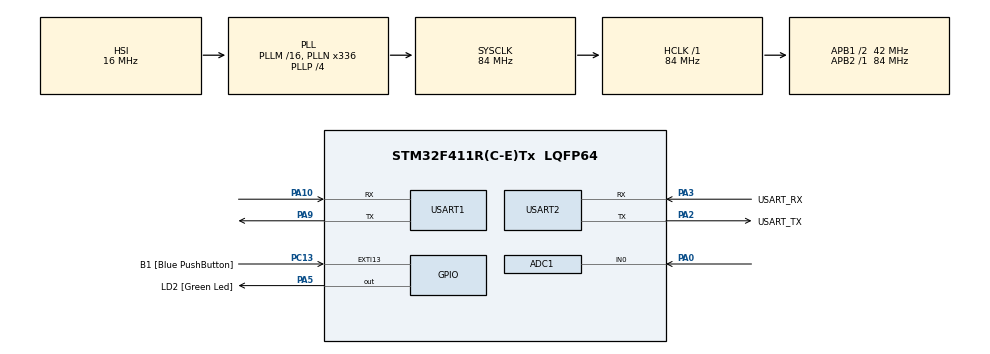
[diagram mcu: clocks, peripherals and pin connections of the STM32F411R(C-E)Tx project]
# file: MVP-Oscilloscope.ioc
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ADC1.Channel-9\#ChannelRegularConversion=ADC_CHANNEL_0
ADC1.NbrOfConversionFlag=1
ADC1.Rank-9\#ChannelRegularConversion=1
ADC1.SamplingTime-9\#ChannelRegularConversion=ADC_SAMPLETIME_3CYCLES
ADC1.master=1
Mcu.Family=STM32F4
Mcu.Name=STM32F411R(C-E)Tx
Mcu.Package=LQFP64
NVIC.PriorityGroup=NVIC_PRIORITYGROUP_0
PA0-WKUP.Signal=ADCx_IN0
PA10.Mode=Asynchronous
PA10.Signal=USART1_RX
PA13.GPIO_Label=TMS
PA13.Mode=Serial_Wire
PA13.Signal=SYS_JTMS-SWDIO
PA14.GPIO_Label=TCK
PA14.Mode=Serial_Wire
PA14.Signal=SYS_JTCK-SWCLK
PA2.GPIO_Label=USART_TX
PA2.Mode=Asynchronous
PA2.Signal=USART2_TX
PA3.GPIO_Label=USART_RX
PA3.Mode=Asynchronous
PA3.Signal=USART2_RX
PA5.GPIO_Label=LD2 [Green Led]
PA5.Signal=GPIO_Output
PA9.Mode=Asynchronous
PA9.Signal=USART1_TX
PB3.GPIO_Label=SWO
PB3.Signal=SYS_JTDO-SWO
PC13-ANTI_TAMP.GPIO_Label=B1 [Blue PushButton]
PC13-ANTI_TAMP.GPIO_ModeDefaultEXTI=GPIO_MODE_IT_FALLING
PC13-ANTI_TAMP.Signal=GPXTI13
PC14-OSC32_IN.Mode=LSE-External-Oscillator
PC14-OSC32_IN.Signal=RCC_OSC32_IN
PC15-OSC32_OUT.Mode=LSE-External-Oscillator
PC15-OSC32_OUT.Signal=RCC_OSC32_OUT
PH0\ -\ OSC_IN.Mode=HSE-External-Clock-Source
PH0\ -\ OSC_IN.Signal=RCC_OSC_IN
PH1\ -\ OSC_OUT.Mode=HSE-External-Clock-Source
PH1\ -\ OSC_OUT.Signal=RCC_OSC_OUT
ProjectManager.HeapSize=0x200
ProjectManager.StackSize=0x400
ProjectManager.TargetToolchain=STM32CubeIDE
RCC.48MHZClocksFreq_Value=84000000
RCC.AHBFreq_Value=84000000
RCC.APB1CLKDivider=RCC_HCLK_DIV2
RCC.APB1Freq_Value=42000000
RCC.APB1TimFreq_Value=84000000
RCC.APB2Freq_Value=84000000
RCC.APB2TimFreq_Value=84000000
RCC.CortexFreq_Value=84000000
RCC.FLatency-AdvancedSettings=FLASH_LATENCY_2
RCC.HCLKFreq_Value=84000000
RCC.HSE_VALUE=8000000
RCC.HSI_VALUE=16000000
RCC.PLLN=336
RCC.PLLP=RCC_PLLP_DIV4
RCC.SYSCLKFreq_VALUE=84000000
RCC.SYSCLKSource=RCC_SYSCLKSOURCE_PLLCLK
RCC.VCOOutputFreq_Value=336000000
SH.ADCx_IN0.0=ADC1_IN0,IN0
USART1.VirtualMode=VM_ASYNC
USART2.VirtualMode=VM_ASYNC
board=NUCLEO-F411RE

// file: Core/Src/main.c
/* USER CODE BEGIN Header */
/**
  ******************************************************************************
  * @file           : main.c
  * @brief          : Main program body
  ******************************************************************************
  * @attention
  *
  * Copyright (c) 2024 STMicroelectronics.
  * All rights reserved.
  *
  * This software is licensed under terms that can be found in the LICENSE file
  * in the root directory of this software component.
  * If no LICENSE file comes with this software, it is provided AS-IS.
  *
  ******************************************************************************
  */
/* USER CODE END Header */
#include "main.h"

/* USER CODE BEGIN Includes */
#include <stdlib.h>
/* USER CODE END Includes */

/* USER CODE BEGIN PD */

// Размер буфера АЦП
#define ADC_BUFFER_SIZE 64

/* USER CODE END PD */

ADC_HandleTypeDef hadc1;

UART_HandleTypeDef huart1;
UART_HandleTypeDef huart2;

/* USER CODE BEGIN PV */

// Буфер для хранения данных АЦП
uint16_t adc_buffer[ADC_BUFFER_SIZE];

// Указатель на текущую позицию в буфере
uint16_t adc_buffer_index = 0;

/* USER CODE END PV */

void SystemClock_Config(void);
static void MX_GPIO_Init(void);
static void MX_ADC1_Init(void);
static void MX_USART1_UART_Init(void);
static void MX_USART2_UART_Init(void);
/* USER CODE BEGIN PFP */

// Функция для передачи данных через UART
void Send_Data(uint16_t *data, uint16_t size);

/* USER CODE END PFP */

int main(void)
{

  /* MCU Configuration--------------------------------------------------------*/

  /* Reset of all peripherals, Initializes the Flash interface and the Systick. */
  HAL_Init();

  /* Configure the system clock */
  SystemClock_Config();

  /* Initialize all configured peripherals */
  MX_GPIO_Init();
  MX_ADC1_Init();
  MX_USART1_UART_Init();
  MX_USART2_UART_Init();

  /* Infinite loop */
  /* USER CODE BEGIN WHILE */

  while (1)
  {
	  // Запуск преобразования АЦП
	  HAL_ADC_Start(&hadc1);
	  HAL_ADC_PollForConversion(&hadc1, HAL_MAX_DELAY);

	  // Считывание данных АЦП
	  uint16_t adc_value = HAL_ADC_GetValue(&hadc1);

	  // Сохранение данных в буфер
	  adc_buffer[adc_buffer_index++] = (adc_value * 3.9) / 4095;

	  // Если буфер заполнен, передаем данные через UART
	  if (adc_buffer_index >= ADC_BUFFER_SIZE)
	  {
		     Send_Data(adc_buffer, ADC_BUFFER_SIZE);
		     // Сброс указателя буфера
		     adc_buffer_index = 0;
      }

	  // Остановка преобразования АЦП
      HAL_ADC_Stop(&hadc1);
      HAL_Delay(5);

    /* USER CODE END WHILE */

  }
}

void SystemClock_Config(void)
{
  RCC_OscInitTypeDef RCC_OscInitStruct = {0};
  RCC_ClkInitTypeDef RCC_ClkInitStruct = {0};

  /** Configure the main internal regulator output voltage
  */
  __HAL_RCC_PWR_CLK_ENABLE();
  __HAL_PWR_VOLTAGESCALING_CONFIG(PWR_REGULATOR_VOLTAGE_SCALE1);

  /** Initializes the RCC Oscillators according to the specified parameters
  * in the RCC_OscInitTypeDef structure.
  */
  RCC_OscInitStruct.OscillatorType = RCC_OSCILLATORTYPE_HSI;
  RCC_OscInitStruct.HSIState = RCC_HSI_ON;
  RCC_OscInitStruct.HSICalibrationValue = RCC_HSICALIBRATION_DEFAULT;
  RCC_OscInitStruct.PLL.PLLState = RCC_PLL_ON;
  RCC_OscInitStruct.PLL.PLLSource = RCC_PLLSOURCE_HSI;
  RCC_OscInitStruct.PLL.PLLM = 16;
  RCC_OscInitStruct.PLL.PLLN = 336;
  RCC_OscInitStruct.PLL.PLLP = RCC_PLLP_DIV4;
  RCC_OscInitStruct.PLL.PLLQ = 4;
  if (HAL_RCC_OscConfig(&RCC_OscInitStruct) != HAL_OK)
  {
    Error_Handler();
  }

  /** Initializes the CPU, AHB and APB buses clocks
  */
  RCC_ClkInitStruct.ClockType = RCC_CLOCKTYPE_HCLK|RCC_CLOCKTYPE_SYSCLK
                              |RCC_CLOCKTYPE_PCLK1|RCC_CLOCKTYPE_PCLK2;
  RCC_ClkInitStruct.SYSCLKSource = RCC_SYSCLKSOURCE_PLLCLK;
  RCC_ClkInitStruct.AHBCLKDivider = RCC_SYSCLK_DIV1;
  RCC_ClkInitStruct.APB1CLKDivider = RCC_HCLK_DIV2;
  RCC_ClkInitStruct.APB2CLKDivider = RCC_HCLK_DIV1;

  if (HAL_RCC_ClockConfig(&RCC_ClkInitStruct, FLASH_LATENCY_2) != HAL_OK)
  {
    Error_Handler();
  }
}

static void MX_ADC1_Init(void)
{

  ADC_ChannelConfTypeDef sConfig = {0};

  /** Configure the global features of the ADC (Clock, Resolution, Data Alignment and number of conversion)
  */
  hadc1.Instance = ADC1;
  hadc1.Init.ClockPrescaler = ADC_CLOCK_SYNC_PCLK_DIV4;
  hadc1.Init.Resolution = ADC_RESOLUTION_12B;
  hadc1.Init.ScanConvMode = DISABLE;
  hadc1.Init.ContinuousConvMode = DISABLE;
  hadc1.Init.DiscontinuousConvMode = DISABLE;
  hadc1.Init.ExternalTrigConvEdge = ADC_EXTERNALTRIGCONVEDGE_NONE;
  hadc1.Init.ExternalTrigConv = ADC_SOFTWARE_START;
  hadc1.Init.DataAlign = ADC_DATAALIGN_RIGHT;
  hadc1.Init.NbrOfConversion = 1;
  hadc1.Init.DMAContinuousRequests = DISABLE;
  hadc1.Init.EOCSelection = ADC_EOC_SINGLE_CONV;
  if (HAL_ADC_Init(&hadc1) != HAL_OK)
  {
    Error_Handler();
  }

  /** Configure for the selected ADC regular channel its corresponding rank in the sequencer and its sample time.
  */
  sConfig.Channel = ADC_CHANNEL_0;
  sConfig.Rank = 1;
  sConfig.SamplingTime = ADC_SAMPLETIME_3CYCLES;
  if (HAL_ADC_ConfigChannel(&hadc1, &sConfig) != HAL_OK)
  {
    Error_Handler();
  }

}

static void MX_USART1_UART_Init(void)
{

  huart1.Instance = USART1;
  huart1.Init.BaudRate = 115200;
  huart1.Init.WordLength = UART_WORDLENGTH_8B;
  huart1.Init.StopBits = UART_STOPBITS_1;
  huart1.Init.Parity = UART_PARITY_NONE;
  huart1.Init.Mode = UART_MODE_TX_RX;
  huart1.Init.HwFlowCtl = UART_HWCONTROL_NONE;
  huart1.Init.OverSampling = UART_OVERSAMPLING_16;
  if (HAL_UART_Init(&huart1) != HAL_OK)
  {
    Error_Handler();
  }

}

static void MX_USART2_UART_Init(void)
{

  huart2.Instance = USART2;
  huart2.Init.BaudRate = 115200;
  huart2.Init.WordLength = UART_WORDLENGTH_8B;
  huart2.Init.StopBits = UART_STOPBITS_1;
  huart2.Init.Parity = UART_PARITY_NONE;
  huart2.Init.Mode = UART_MODE_TX_RX;
  huart2.Init.HwFlowCtl = UART_HWCONTROL_NONE;
  huart2.Init.OverSampling = UART_OVERSAMPLING_16;
  if (HAL_UART_Init(&huart2) != HAL_OK)
  {
    Error_Handler();
  }

}

static void MX_GPIO_Init(void)
{
  GPIO_InitTypeDef GPIO_InitStruct = {0};

  /* GPIO Ports Clock Enable */
  __HAL_RCC_GPIOC_CLK_ENABLE();
  __HAL_RCC_GPIOH_CLK_ENABLE();
  __HAL_RCC_GPIOA_CLK_ENABLE();
  __HAL_RCC_GPIOB_CLK_ENABLE();

  /*Configure GPIO pin Output Level */
  HAL_GPIO_WritePin(LD2_GPIO_Port, LD2_Pin, GPIO_PIN_RESET);

  /*Configure GPIO pin : B1_Pin */
  GPIO_InitStruct.Pin = B1_Pin;
  GPIO_InitStruct.Mode = GPIO_MODE_IT_FALLING;
  GPIO_InitStruct.Pull = GPIO_NOPULL;
  HAL_GPIO_Init(B1_GPIO_Port, &GPIO_InitStruct);

  /*Configure GPIO pin : LD2_Pin */
  GPIO_InitStruct.Pin = LD2_Pin;
  GPIO_InitStruct.Mode = GPIO_MODE_OUTPUT_PP;
  GPIO_InitStruct.Pull = GPIO_NOPULL;
  GPIO_InitStruct.Speed = GPIO_SPEED_FREQ_LOW;
  HAL_GPIO_Init(LD2_GPIO_Port, &GPIO_InitStruct);

}

/* USER CODE BEGIN 4 */

// Функци�? дл�? передачи данных через UART
void Send_Data(uint16_t *data, uint16_t size)
{
    for (uint16_t i = 0; i < size; i++)
    {
        HAL_UART_Transmit(&huart2, (uint8_t*)&data[i], sizeof(data[i]), HAL_MAX_DELAY);
    }
}

/* USER CODE END 4 */

void Error_Handler(void)
{
  __disable_irq();
  while (1)
  {
  }
}
